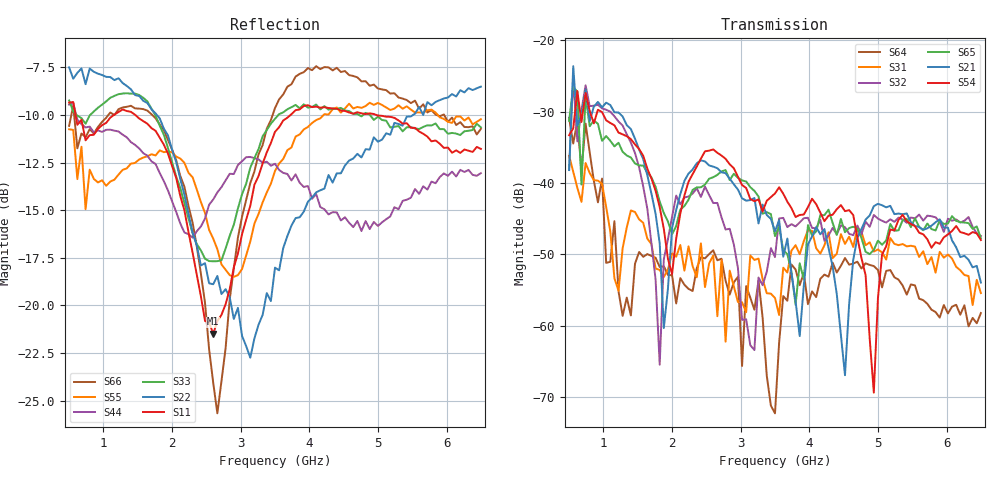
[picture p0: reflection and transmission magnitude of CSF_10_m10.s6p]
!Keysight Technologies,M9804A,MY58100912,A.14.10.03
!Date: Thursday, April 27, 2023 10:28:33
!Correction: S11(C  6-Port  )
!S12(C  6-Port  )
!S13(C  6-Port  )
!S14(C  6-Port  )
!S15(C  6-Port  )
!S16(C  6-Port  )
!S21(C  6-Port  )
!S22(C  6-Port  )
!S23(C  6-Port  )
!S24(C  6-Port  )
!S25(C  6-Port  )
!S26(C  6-Port  )
!S31(C  6-Port  )
!S32(C  6-Port  )
!S33(C  6-Port  )
!S34(C  6-Port  )
!S35(C  6-Port  )
!S36(C  6-Port  )
!S41(C  6-Port  )
!S42(C  6-Port  )
!S43(C  6-Port  )
!S44(C  6-Port  )
!S45(C  6-Port  )
!S46(C  6-Port  )
!S51(C  6-Port  )
!S52(C  6-Port  )
!S53(C  6-Port  )
!S54(C  6-Port  )
!S55(C  6-Port  )
!S56(C  6-Port  )
!S61(C  6-Port  )
!S62(C  6-Port  )
!S63(C  6-Port  )
!S64(C  6-Port  )
!S65(C  6-Port  )
!S66(C  6-Port  )
!S6P File: Measurement: :
# Hz S  RI  R 50
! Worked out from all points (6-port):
!   101 points, 500 MHz to 6.5 GHz, reference 50 ohm
!   strongest paths, dB at 500 MHz, 2 GHz, 3.5 GHz, 5 GHz, 6.5 GHz:
!     S54: -33.3, -52.8, -41.5, -56.1, -48.0
!     S21: -38.2, -46.3, -46.8, -42.9, -54.0
!     S65: -31.3, -47.2, -47.5, -48.1, -47.8
!     S32: -38.1, -44.8, -50.4, -45.0, -47.4
!     S31: -36.2, -49.9, -56.1, -49.3, -55.4
!     S64: -30.9, -53.0, -72.3, -52.2, -58.2
!   lowest |S11| = -21.5 dB at 2.6 GHz (marker M1), VSWR 1.18, Z = 42.6 + j2.33 ohm
!   |S11| at or under -10 dB: 594.4 MHz to 1.151 GHz (556.6 MHz wide, 63.8 % of centre); 1.465 GHz to 3.725 GHz (2.259 GHz wide, 87.1 % of centre); 4.982 GHz to end of sweep
